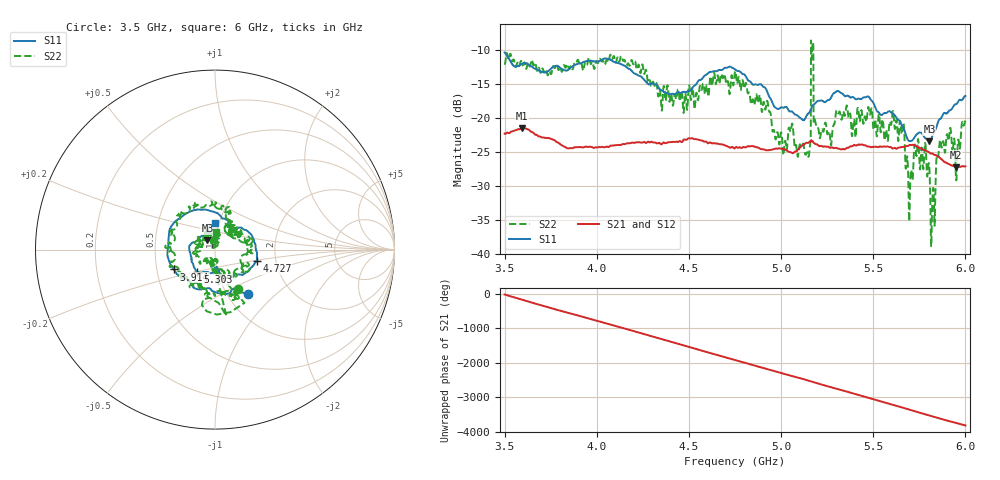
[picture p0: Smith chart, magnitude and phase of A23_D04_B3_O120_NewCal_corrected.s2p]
! Created with skrf 1.9.0 (http://scikit-rf.org).
# Hz S RI R 50.0
!freq ReS11 ImS11 ReS21 ImS21 ReS12 ImS12 ReS22 ImS22
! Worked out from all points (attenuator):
!   1601 points, 3.5 GHz to 6 GHz, reference 50 ohm
!   highest |S21| = -21.44 dB at 3.595 GHz (marker M1); lowest = -27.2 dB at 5.948 GHz (marker M2)
!   lowest |S11| = -23.4 dB at 5.805 GHz (marker M3), VSWR 1.15, Z = 45.7 + j4.86 ohm
!   |S11| at or under -10 dB: start of sweep to end of sweep
!   |S22| runs from -38.9 to -8.5 dB; largest |S21 - S12| = 0.001
!   S11 on the Smith chart (normalised r, x): 3.5 GHz: 1.24, -0.67; 3.914 GHz: 0.61, -0.15; 4.727 GHz: 1.59, -0.21; 5.303 GHz: 0.80, -0.20; 6 GHz: 0.96, +0.29
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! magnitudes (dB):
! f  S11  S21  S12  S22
! 3.5 GHz  -10.3  -22.3  -22.2  -11.9
! 3.595 GHz  -11.9  -21.4  -21.4  -12.0
! 3.914 GHz  -11.9  -24.3  -24.2  -11.9
! 3.917 GHz  -11.9  -24.3  -24.2  -12.0
! 4.198 GHz  -13.3  -23.6  -23.6  -12.0
! 4.334 GHz  -15.4  -23.6  -23.6  -16.8
! 4.727 GHz  -12.4  -24.3  -24.2  -14.7
! 4.75 GHz  -12.8  -24.4  -24.3  -13.2
! 5.141 GHz  -19.5  -23.6  -23.5  -25.1
! 5.167 GHz  -18.3  -23.3  -23.3  -10.9
! 5.205 GHz  -17.4  -24.1  -24.0  -21.9
! 5.303 GHz  -16.0  -24.4  -24.4  -18.8
! 5.584 GHz  -19.0  -24.2  -24.2  -21.6
! 5.656 GHz  -21.1  -24.2  -24.1  -22.2
! 5.703 GHz  -23.4  -24.0  -23.9  -28.1
! 5.733 GHz  -22.5  -24.1  -24.0  -25.4
! 5.773 GHz  -22.6  -24.7  -24.6  -27.0
! 5.805 GHz  -23.4  -25.1  -25.0  -27.4
! 5.823 GHz  -22.4  -25.2  -25.2  -30.5
! 5.869 GHz  -20.0  -26.0  -25.9  -24.0
! 5.948 GHz  -17.9  -27.2  -27.2  -28.7
! 6 GHz  -16.7  -27.1  -27.0  -20.3
